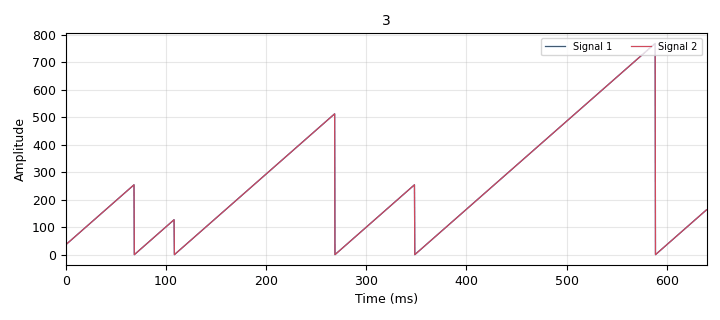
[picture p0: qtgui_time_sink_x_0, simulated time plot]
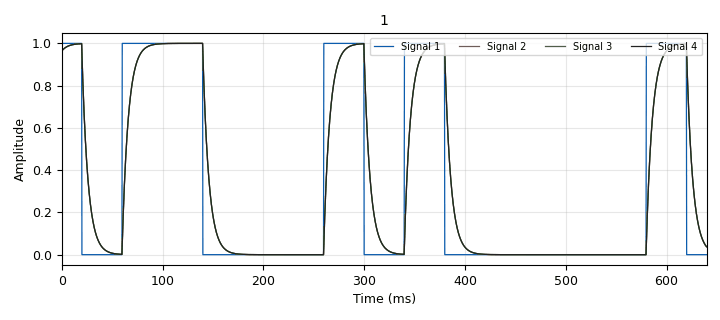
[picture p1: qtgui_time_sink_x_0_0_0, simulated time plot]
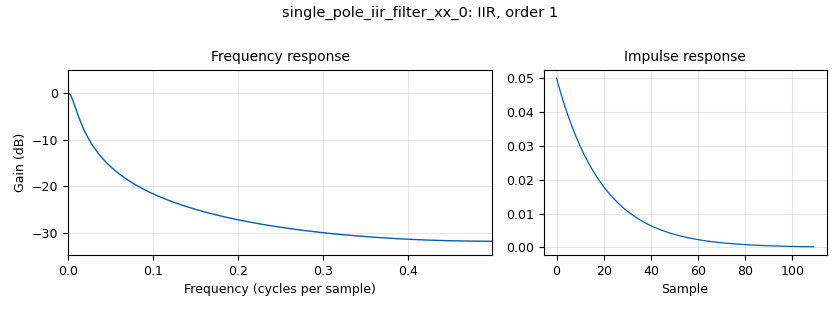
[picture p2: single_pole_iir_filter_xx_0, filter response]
options:
  parameters:
    generate_options: qt_gui
    id: default
    output_language: python
    title: Not titled yet
  states: {}

blocks:
- name: samp_rate
  id: variable
  parameters:
    value: '3200'
  states: {}
- name: blocks_add_const_vxx_0
  id: blocks_add_const_vxx
  parameters:
    const: '0.5'
    type: float
  states: {}
- name: blocks_multiply_const_vxx_0
  id: blocks_multiply_const_vxx
  parameters:
    const: '0.5'
    type: float
  states: {}
- name: blocks_repeat_0
  id: blocks_repeat
  parameters:
    interp: '128'
    type: float
  states: {}
- name: blocks_tag_gate_0
  id: blocks_tag_gate
  parameters:
    propagate_tags: 'False'
    type: float
  states: {}
- name: blocks_throttle_0
  id: blocks_throttle
  parameters:
    samples_per_second: samp_rate
    type: float
  states: {}
- name: digital_glfsr_source_x_0
  id: digital_glfsr_source_x
  parameters:
    degree: '32'
    mask: '0'
    repeat: 'True'
    seed: '1'
    type: float
  states: {}
- name: epy_block_0
  id: epy_block
  parameters:
    _source_code: |
      """
      Embedded Python Blocks:

      Each time this file is saved, GRC will instantiate the first class it finds
      to get ports and parameters of your block. The arguments to __init__  will
      be the parameters. All of them are required to have default values!
      """

      import numpy as np
      from gnuradio import gr
      import pmt



      class blk(gr.sync_block):  # other base classes are basic_block, decim_block, interp_block
          """Embedded Python Block example - a simple multiply const"""

          def __init__(self, threshold=1.0, report_period=128):  # only default arguments here
              """arguments to this function show up as parameters in GRC"""
              gr.sync_block.__init__(
                  self,
                  name='Threshold Detector',   # will show up in GRC
                  in_sig=[np.float32],
                  out_sig=[np.float32]
              )
              # if an attribute with the same name as a parameter is found,
              # a callback is registered (properties work, too).
              self.threshold = threshold
              self.report_period = report_period
              
              self.timer = 0
              self.readyForTag = True

          def work(self, input_items, output_items):
              """example: multiply with constant"""
              for index in range(len(input_items[0])):
                  # write the tag
                  if (input_items[0][index] >= self.threshold and self.readyForTag == True):
                      # define the key as 'detect'
                      key = pmt.intern('detect')
                      # get the detection value
                      value = pmt.from_float(np.round(float(input_items[0][index]),2))
                      # tag index to be written
                      writeIndex = self.nitems_written(0) + index
                      # add the tag object (key, value pair)
                      self.add_item_tag(0, writeIndex, key, value )
                      # tag has been written, set state
                      self.readyForTag = False
                      
                  # increase  the timer by 1
                  if (self.readyForTag == False):
                      self.timer = self.timer + 1
          
                  # set flag to write 
                  if (self.timer >= self.report_period):
                      # reset timer
                      self.timer = 0
                      # reset state once timer hits max value
                      self.readyForTag = True
          

              output_items[0][:] = input_items[0]
              return len(output_items[0])
    report_period: '128'
    threshold: '0.75'
  states: {}
- name: epy_block_1
  id: epy_block
  parameters:
    _source_code: |
      """
      Embedded Python Blocks:

      Each time this file is saved, GRC will instantiate the first class it finds
      to get ports and parameters of your block. The arguments to __init__  will
      be the parameters. All of them are required to have default values!
      """

      import numpy as np
      from gnuradio import gr
      import pmt

      class blk(gr.sync_block):  # other base classes are basic_block, decim_block, interp_block
          """Embedded Python Block example - a simple multiply const"""

          def __init__(self):  # only default arguments here
              """arguments to this function show up as parameters in GRC"""
              gr.sync_block.__init__(
                  self,
                  name='Detector Counter',   # will show up in GRC
                  in_sig=[np.float32],
                  out_sig=[np.float32]
              )
              # if an attribute with the same name as a parameter is found,
              # a callback is registered (properties work, too).
              self.samplesSinceDetection = 0;

          def work(self, input_items, output_items):
              # get all tags associated with input_items[0]
              tagTuple = self.get_tags_in_window(0, 0, len(input_items[0]))
              
              # declare a list
              relativeOffsetList = []

              # loop through all 'detect' tags and store their relative offset
              for tag in tagTuple:
                  if (pmt.to_python(tag.key) == 'detect'):
                      relativeOffsetList.append( tag.offset - self.nitems_read(0) )
              
              # sort list of relative offsets
              relativeOffsetList.sort()
              
              # loop through all output samples
              for index in range(len(output_items[0])):
                  # output is now samples since detection counter
                  output_items[0][index] = self.samplesSinceDetection

                  # make sure the list is not-empty, and if the current input sample
                  # is greater than or equal to the next 
                  if (len(relativeOffsetList) > 0 and index >= relativeOffsetList[0]):
                      # clear the offset
                      relativeOffsetList.pop(0)
                      # reset the output counter
                      self.samplesSinceDetection = 0
                  else:
                      # a detect tag has not been seen, so continue to increase
                      # the output counter
                      self.samplesSinceDetection = self.samplesSinceDetection + 1
                      
        
              return len(output_items[0])
  states: {}
- name: qtgui_time_sink_x_0
  id: qtgui_time_sink_x
  parameters:
    autoscale: 'True'
    name: '"3"'
    nconnections: '2'
    size: '2048'
    srate: samp_rate
    type: float
  states: {}
- name: qtgui_time_sink_x_0_0_0
  id: qtgui_time_sink_x
  parameters:
    autoscale: 'True'
    name: '"1"'
    nconnections: '4'
    size: '2048'
    srate: samp_rate
    type: float
  states: {}
- name: single_pole_iir_filter_xx_0
  id: single_pole_iir_filter_xx
  parameters:
    alpha: '0.05'
    type: float
  states: {}
- name: virtual_sink_0
  id: virtual_sink
  parameters:
    stream_id: signal
  states: {}
- name: virtual_sink_1
  id: virtual_sink
  parameters:
    stream_id: add
  states: {}
- name: virtual_sink_1_0
  id: virtual_sink
  parameters:
    stream_id: IIR
  states: {}
- name: virtual_sink_1_1
  id: virtual_sink
  parameters:
    stream_id: detector
  states: {}
- name: virtual_sink_1_1_0
  id: virtual_sink
  parameters:
    stream_id: counter
  states: {}
- name: virtual_source_0
  id: virtual_source
  parameters:
    stream_id: signal
  states: {}
- name: virtual_source_1
  id: virtual_source
  parameters:
    stream_id: add
  states: {}
- name: virtual_source_1_0
  id: virtual_source
  parameters:
    stream_id: IIR
  states: {}
- name: virtual_source_2
  id: virtual_source
  parameters:
    stream_id: detector
  states: {}
- name: virtual_source_2_0
  id: virtual_source
  parameters:
    stream_id: counter
  states: {}

connections:
- [blocks_add_const_vxx_0, '0', single_pole_iir_filter_xx_0, '0']
- [blocks_add_const_vxx_0, '0', virtual_sink_1, '0']
- [blocks_multiply_const_vxx_0, '0', blocks_add_const_vxx_0, '0']
- [blocks_repeat_0, '0', blocks_multiply_const_vxx_0, '0']
- [blocks_tag_gate_0, '0', qtgui_time_sink_x_0, '1']
- [blocks_throttle_0, '0', qtgui_time_sink_x_0_0_0, '2']
- [blocks_throttle_0, '0', virtual_sink_0, '0']
- [digital_glfsr_source_x_0, '0', blocks_repeat_0, '0']
- [epy_block_0, '0', epy_block_1, '0']
- [epy_block_0, '0', virtual_sink_1_1, '0']
- [epy_block_1, '0', blocks_tag_gate_0, '0']
- [epy_block_1, '0', virtual_sink_1_1_0, '0']
- [single_pole_iir_filter_xx_0, '0', blocks_throttle_0, '0']
- [single_pole_iir_filter_xx_0, '0', virtual_sink_1_0, '0']
- [virtual_source_0, '0', epy_block_0, '0']
- [virtual_source_1, '0', qtgui_time_sink_x_0_0_0, '0']
- [virtual_source_1_0, '0', qtgui_time_sink_x_0_0_0, '1']
- [virtual_source_2, '0', qtgui_time_sink_x_0_0_0, '3']
- [virtual_source_2_0, '0', qtgui_time_sink_x_0, '0']

metadata:
  file_format: 1
  grc_version: 3.10.12.0
